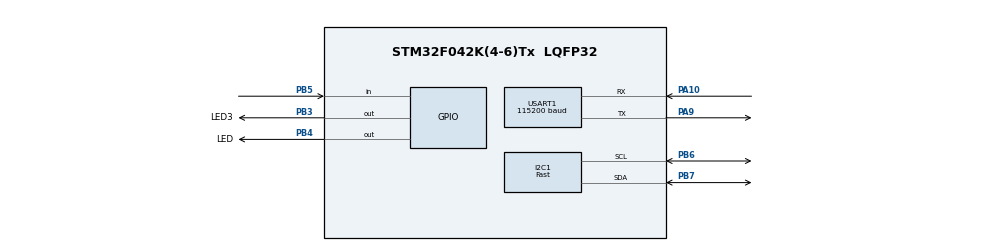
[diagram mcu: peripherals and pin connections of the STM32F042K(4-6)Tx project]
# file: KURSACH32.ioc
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Mcu.Family=STM32F0
I2C1.I2C_Speed_Mode=I2C_Fast
PA10.Mode=Asynchronous
USART1.BaudRate=115200
ProjectManager.StackSize=0x400
USART1.VirtualMode-Asynchronous=VM_ASYNC
PA13.Signal=SYS_SWDIO
PA9.Mode=Asynchronous
ProjectManager.TargetToolchain=STM32CubeIDE
PA9.Signal=USART1_TX
PB6.Signal=I2C1_SCL
I2C1.Timing=0x0000020B
PB6.Mode=I2C
board=custom
PB4.GPIO_Label=LED
PA14.Mode=Serial_Wire
PB7.Signal=I2C1_SDA
PA13.Mode=Serial_Wire
Mcu.Name=STM32F042K(4-6)Tx
PB3.Signal=GPIO_Output
Mcu.Package=LQFP32
PB5.Signal=GPIO_Input
PB7.Mode=I2C
PA10.Signal=USART1_RX
PA14.Signal=SYS_SWCLK
ProjectManager.HeapSize=0x200
PB4.Signal=GPIO_Output
PB3.GPIO_Label=LED3

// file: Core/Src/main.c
/* USER CODE BEGIN Header */
/**
  ******************************************************************************
  * @file           : main.c
  * @brief          : Main program body
  ******************************************************************************
  * @attention
  *
  * <h2><center>&copy; Copyright (c) 2021 STMicroelectronics.
  * All rights reserved.</center></h2>
  *
  * This software component is licensed by ST under BSD 3-Clause license,
  * the "License"; You may not use this file except in compliance with the
  * License. You may obtain a copy of the License at:
  *                        opensource.org/licenses/BSD-3-Clause
  *
  ******************************************************************************
  */
/* USER CODE END Header */
#include "main.h"
#include "string.h"
#include "stm32f0xx_hal.h"
#include "stdlib.h"
#include "stdio.h"

/* USER CODE BEGIN PTD */
#define REG_INTERRUPT_STATUS_1 0x00
#define REG_INTERRUPT_STATUS_2 0x01
#define REG_INTERRUPT_ENABLE_1 0x02
#define REG_INTERRUPT_ENABLE_2 0x03
#define MAX30102_ADDR_WRITE 0xAE
#define MAX30102_ADDR_READ 0xAF
#define PART_ID 0xFF
#define REG_MODE_CONFIGURATION 0x09
#define REG_LED_PLUSE_AMPLITUDE_1 0x0c
#define REG_LED_PLUSE_AMPLITUDE_2 0x0d
#define REG_PROXIMITY_MODE_LED_PLUSE_AMPLITUDE 0x10
#define REG_SPO2_CONFIGURATION 0x0a
#define REG_FIFO_DATA_REGISTER 0x07
#define REG_FIFO_WRITE_POINTER 0x04
#define REG_OVERFLOW_COUNTER 0x05
#define REG_FIFO_READ_POINTER 0x06
#define REG_FIFO_CONFIGURATION 0x08

#define BUFF_SIZE 200
#define BUFF_SIZE_half BUFF_SIZE/2

#define FILTER_LEVEL 8

/* USER CODE END PTD */

I2C_HandleTypeDef hi2c1;

UART_HandleTypeDef huart1;

/* USER CODE BEGIN PV */

int __io_putchar(int ch){
	HAL_UART_Transmit(&huart1, (uint8_t *)&ch, 1, 0xFFFF);
}

/* USER CODE END PV */

void SystemClock_Config(void);
static void MX_GPIO_Init(void);
static void MX_I2C1_Init(void);
static void MX_USART1_UART_Init(void);
/* USER CODE BEGIN PFP */
I2C_HandleTypeDef hi2c1;

UART_HandleTypeDef huart1;
/* USER CODE END PFP */

int main(void)
{

  /* MCU Configuration--------------------------------------------------------*/

  /* Reset of all peripherals, Initializes the Flash interface and the Systick. */
  HAL_Init();
  MX_GPIO_Init();
  MX_I2C1_Init();
  MX_USART1_UART_Init();

  /* Configure the system clock */
  SystemClock_Config();

  /* USER CODE BEGIN SysInit */

  printf("Hello, dear user\r\n");

  max30102_init();

  uint8_t flag = 0;
  uint8_t tstflag = 0;
  uint8_t spo2s = 0;

  /* USER CODE END SysInit */

  /* Initialize all configured peripherals */

  uint8_t part_id = 0;
  uint8_t disflag = 0;
  /* Infinite loop */
  /* USER CODE BEGIN WHILE */
  while (1)
  {
    /* USER CODE END WLE */

	  while(HAL_I2C_Mem_Read(&hi2c1, MAX30102_ADDR_READ, PART_ID, I2C_MEMADD_SIZE_8BIT, &part_id, 1, 10)){
			if(disflag == 0){
				printf("MAX30102 is disconnected\r\n");
			}
			HAL_GPIO_WritePin(LED_GPIO_Port, LED_Pin, GPIO_PIN_RESET);
			HAL_GPIO_WritePin(LED3_GPIO_Port, LED3_Pin, GPIO_PIN_RESET);
			disflag = 1;
	  }
	  disflag = 0;

		if (HAL_GPIO_ReadPin(GPIOB, GPIO_PIN_5) == GPIO_PIN_RESET) {

			max30102_cal();
			uint8_t spo2 = max30102_getSpO2();

			if(spo2 != 0){

				if(spo2 > 89){
					if(spo2s != spo2){
						printf("Oxygen level: %d percent\r\n", spo2);

						HAL_GPIO_WritePin(LED3_GPIO_Port, LED3_Pin, GPIO_PIN_SET);
						spo2s = spo2;
						HAL_Delay(10);
						HAL_GPIO_WritePin(LED3_GPIO_Port, LED3_Pin, GPIO_PIN_RESET);
					}
					tstflag = 0;
				}else if(tstflag == 0){
					tstflag = 1;
				}
				flag = 0;
			}else if(spo2 == 0 && flag == 0){
				flag = 1;
			}
		}
  }
}

void max30102_init()
{
	  uint8_t part_id = 0;
	  uint8_t data;
	  uint8_t onflag = 0;

	  while(part_id != 0x15){
		  HAL_I2C_Mem_Read(&hi2c1, MAX30102_ADDR_READ, PART_ID, I2C_MEMADD_SIZE_8BIT, &part_id, 1, 10);
		  if(onflag == 0 && part_id != 0x15){
			   printf("MAX30102 is not available\r\n");
		  }
		  onflag = 1;
	  }

     printf("MAX30102 is connected\r\n");

	 uint8_t mode = 0;

	 //MAX check

	 HAL_I2C_Mem_Read(&hi2c1, MAX30102_ADDR_READ, REG_MODE_CONFIGURATION, I2C_MEMADD_SIZE_8BIT, &mode, 1, 10);
	 if(mode == 0x00){
		 printf("MAX30102 is OFF\r\n");
		 while (mode == 0x00){
			 printf("proceccing...\r\n");
			 mode = 0x03;
			 HAL_I2C_Mem_Write(&hi2c1, MAX30102_ADDR_WRITE, REG_MODE_CONFIGURATION, I2C_MEMADD_SIZE_8BIT, &mode, 1, 10);
			 HAL_I2C_Mem_Read(&hi2c1, MAX30102_ADDR_READ, REG_MODE_CONFIGURATION, I2C_MEMADD_SIZE_8BIT, &mode, 1, 10);
		 }
	 }

	 //LED CONF
	data = 0x47;
	HAL_I2C_Mem_Write(&hi2c1, MAX30102_ADDR_WRITE, REG_LED_PLUSE_AMPLITUDE_1, I2C_MEMADD_SIZE_8BIT, &data, 1, 10);
	HAL_I2C_Mem_Write(&hi2c1, MAX30102_ADDR_WRITE, REG_LED_PLUSE_AMPLITUDE_2, I2C_MEMADD_SIZE_8BIT, &data, 1, 10);
	//data = 0x7f;
	HAL_I2C_Mem_Write(&hi2c1, MAX30102_ADDR_WRITE, REG_PROXIMITY_MODE_LED_PLUSE_AMPLITUDE, I2C_MEMADD_SIZE_8BIT, &data, 1, 10);

	//Spo2 CONF
	data = 0x63;
    HAL_I2C_Mem_Write(&hi2c1, MAX30102_ADDR_WRITE, REG_SPO2_CONFIGURATION, I2C_MEMADD_SIZE_8BIT, &data, 1, 10);

    //FIFO conf
    data = 0x10;
    HAL_I2C_Mem_Write(&hi2c1, MAX30102_ADDR_WRITE, REG_FIFO_CONFIGURATION, I2C_MEMADD_SIZE_8BIT, &data, 1, 10);

    //INTERRUPT
    data= 0xc0;
    HAL_I2C_Mem_Write(&hi2c1, MAX30102_ADDR_WRITE, REG_INTERRUPT_ENABLE_1, I2C_MEMADD_SIZE_8BIT, &data, 1, 10);
    //INTERRUPT2
    data= 0x00;
    HAL_I2C_Mem_Write(&hi2c1, MAX30102_ADDR_WRITE, REG_INTERRUPT_ENABLE_2, I2C_MEMADD_SIZE_8BIT, &data, 1, 10);

	// FIFO CLEAR
    data = 0;
    HAL_I2C_Mem_Write(&hi2c1, MAX30102_ADDR_WRITE, REG_FIFO_WRITE_POINTER, I2C_MEMADD_SIZE_8BIT, &data, 1, 10);
    HAL_I2C_Mem_Write(&hi2c1, MAX30102_ADDR_WRITE, REG_OVERFLOW_COUNTER, I2C_MEMADD_SIZE_8BIT, &data, 1, 10);
    HAL_I2C_Mem_Write(&hi2c1, MAX30102_ADDR_WRITE, REG_FIFO_READ_POINTER, I2C_MEMADD_SIZE_8BIT, &data, 1, 10);

    // STATUS CLEAR
    uint8_t dataTemp = 0;
    HAL_I2C_Mem_Read(&hi2c1, MAX30102_ADDR_READ, REG_INTERRUPT_STATUS_1, I2C_MEMADD_SIZE_8BIT, &dataTemp, 1, 10);
    data = dataTemp;
    HAL_I2C_Mem_Read(&hi2c1, MAX30102_ADDR_READ, REG_INTERRUPT_STATUS_2, I2C_MEMADD_SIZE_8BIT, &dataTemp, 1, 10);

	printf("MAX30102 is ON\r\n");
}

uint8_t max30102_getUnreadSampleCount()
{
	uint8_t wr = 0, rd = 0;
    HAL_I2C_Mem_Read(&hi2c1, MAX30102_ADDR_READ, REG_FIFO_WRITE_POINTER, I2C_MEMADD_SIZE_8BIT, &wr, 1, 10);
    HAL_I2C_Mem_Read(&hi2c1, MAX30102_ADDR_READ, REG_FIFO_READ_POINTER, I2C_MEMADD_SIZE_8BIT, &rd, 1, 10);

    if ((wr - rd) < 0)
        return wr - rd + 32;
    else
        return wr - rd;
}

uint8_t flagput = 0;
uint8_t flagproc = 0;

void max30102_getFIFO(SAMPLE *data, uint8_t sampleCount){

    uint8_t dataTemp[sampleCount * 6];

    HAL_I2C_Mem_Read(&hi2c1, MAX30102_ADDR_READ, REG_FIFO_DATA_REGISTER, I2C_MEMADD_SIZE_8BIT, dataTemp, 6 * sampleCount, 25);

    if(dataTemp[0] != 0){
		flagput = 0;
		HAL_GPIO_WritePin(LED_GPIO_Port, LED_Pin, GPIO_PIN_SET);
		if(flagproc == 0){
			printf("Processing...\r\n");
			flagproc = 1;
		}
    }else{
    	flagproc = 0;
		HAL_GPIO_WritePin(LED_GPIO_Port, LED_Pin, GPIO_PIN_RESET);
		if(flagput == 0){
			printf("Put your finger please\r\n");
			flagput = 1;
		}
    }

    uint8_t i;
    for (i = 0; i < sampleCount; i++)
    {
        data[i].red = (((uint32_t)dataTemp[i * 6]) << 16 | ((uint32_t)dataTemp[i * 6 + 1]) << 8 | dataTemp[i * 6 + 2]) & 0x3ffff;
        data[i].iRed = (((uint32_t)dataTemp[i * 6 + 3]) << 16 | ((uint32_t)dataTemp[i * 6 + 4]) << 8 | dataTemp[i * 6 + 5]) & 0x3ffff;
    }

}

SAMPLE sampleBuff[BUFF_SIZE];
uint8_t spo2 = 0;

uint16_t redAC = 0;
uint32_t redDC = 0;
uint16_t iRedAC = 0;
uint32_t iRedDC = 0;

uint16_t redAC_prev = 0;
uint32_t redDC_prev = 0;
uint16_t iRedAC_prev = 0;
uint32_t iRedDC_prev = 0;

#define FILTER_LEVEL 8

void filter(SAMPLE *s)
{
    uint8_t i;
    uint32_t red = 0;
    uint32_t ired = 0;
    for (i = 0; i < FILTER_LEVEL - 1; i++)
    {
        red += sampleBuff[i].red;
        ired += sampleBuff[i].iRed;
    }
    s->red = (red + s->red) / FILTER_LEVEL;
    s->iRed = (ired + s->iRed) / FILTER_LEVEL;
}

uint32_t rMax = 2;
uint32_t rMin = 1;
uint32_t iMax = 2;
uint32_t iMin = 1;

uint32_t maxFindSteep=0;
uint32_t minFindSteep=0;

int16_t eachSampleDiff = 0;

uint32_t	lenghtWave[2] = {0,0};

#define MIDDLEBUUF BUFF_SIZE
uint32_t middle_ir[1 + 1 + 1 + MIDDLEBUUF];

void calcAcDcFIFO(SAMPLE s, uint16_t *rac, uint32_t *rdc, uint16_t *iac, uint32_t *idc) {
	// Уровень с ик диода выше чем с красного
    uint8_t i;
	for (i = BUFF_SIZE - 1; i > 0; i--) {
		sampleBuff[i].red = sampleBuff[i - 1].red;
		sampleBuff[i].iRed = sampleBuff[i - 1].iRed;
		middle_ir[3 + i] = middle_ir[3 + i - 1];
	}
	if(s.red > s.iRed) {	// Уровень с ик диода выше чем с красного
		sampleBuff[0].red = s.iRed;
		sampleBuff[0].iRed = s.red;
		middle_ir[3] = s.red;
	} else {
		sampleBuff[0].red = s.red;
		sampleBuff[0].iRed = s.iRed;
		middle_ir[3] = s.iRed;
	}

	{	// фильтрация
		uint32_t acc32 = (middle_ir[3] + middle_ir[4] + middle_ir[5]) / 3;// + middle_ir[6] + middle_ir[7]) / 5;
		middle_ir[3] = acc32;

		// среднеарифметическое значение в middle_ir[0]
		uint64_t acc64=0;
		for(uint32_t k=3; k<(MIDDLEBUUF+3); k++)
			acc64 += ((uint64_t)middle_ir[k]*(uint64_t)middle_ir[k]);
		acc64 = acc64/MIDDLEBUUF;
		middle_ir[0] = ( ((uint32_t)sqrt(acc64)));
	}

	if( (middle_ir[0] < middle_ir[3+BUFF_SIZE_half]) && (middle_ir[0] > middle_ir[3+BUFF_SIZE_half+2]) ) { // рост максимума
		maxFindSteep = 0;
		minFindSteep = 0;

    	iMax = 0;
    	iMin = 0xffffffff;
    	rMax = 0;
    	rMin = 0xffffffff;

		uint32_t max_num = 0;
		for(uint32_t k=0; k<BUFF_SIZE_half; k++) {// поиск максимума
			if( (middle_ir[0] > middle_ir[3+BUFF_SIZE_half-k]) && (middle_ir[0] < middle_ir[3+BUFF_SIZE_half+2-k]) )
				break; // уход в минус относительно средней
			if (middle_ir[3+BUFF_SIZE_half-k] > iMax){
				iMax = middle_ir[3+BUFF_SIZE_half-k];
				max_num = BUFF_SIZE_half-k;
			}
			maxFindSteep++;
		}
		for(uint32_t k=(max_num-10); k < (max_num+10); k++) {// уточнение максимума
			if (sampleBuff[k].iRed > iMax){
				iMax = sampleBuff[k].iRed;
				rMax = sampleBuff[k].red;
			}
		}
		uint32_t min_num=0;
		for(uint32_t k=0; k<(BUFF_SIZE_half-2); k++) {// поиск минимума
			if( (middle_ir[0] > middle_ir[3+BUFF_SIZE_half+k]) && (middle_ir[0] < middle_ir[3+BUFF_SIZE_half+2+k]) )
				break;
			if (middle_ir[3+BUFF_SIZE_half+k] < iMin){
				iMin = middle_ir[3+BUFF_SIZE_half+k];
				min_num = BUFF_SIZE_half+k;
			}
			minFindSteep++;
		}
		for(uint32_t k=(min_num-10); k < (min_num+10); k++) {// уточнение минимума
			if (sampleBuff[k].iRed < iMin){
				iMin = sampleBuff[k].iRed;
				rMin = sampleBuff[k].red;
			}
		}

		lenghtWave[0] = (maxFindSteep);
		lenghtWave[1] = (minFindSteep);
	}

    *rac = rMax - rMin;
    *rdc = (rMax + rMin) / 2;
    *iac = iMax - iMin;
    *idc = (iMax + iMin) / 2;
}

void max30102_cal()
{
    uint8_t unreadSampleCount = max30102_getUnreadSampleCount();

    SAMPLE sampleBuffTemp[unreadSampleCount];
    max30102_getFIFO(sampleBuffTemp, unreadSampleCount);

    uint8_t i = 0;

    for (i = 0; i < unreadSampleCount; i++)
    {
        if (sampleBuffTemp[i].iRed < 40000) //Нет пальцев, нет расчета, пропустить
        {
            spo2 = 0;
            eachSampleDiff = 0;
            continue;
        }

        calcAcDcFIFO(sampleBuffTemp[i], &redAC, &redDC, &iRedAC, &iRedDC);
        filter(&sampleBuffTemp[i]);

			float R = (((float)(redAC)) / ((float)(redDC))) / (((float)(iRedAC)) / ((float)(iRedDC)));
			if (R >= 0.36 && R < 0.66)
				spo2 = (uint8_t)(107 - 20 * R);
			else if (R >= 0.66 && R < 1)
				spo2 = (uint8_t)(129.64 - 54 * R);

			redAC_prev = redAC;
			redDC_prev = redDC;
			iRedAC_prev = iRedAC;
			iRedDC_prev = iRedDC;
        eachSampleDiff = middle_ir[3 + BUFF_SIZE_half] - iMin;

    }

}

uint8_t max30102_getSpO2() { return spo2; }
uint16_t max30102_getMaxMin() { return (uint16_t)(iMax - iMin); }

void SystemClock_Config(void)
{
  RCC_OscInitTypeDef RCC_OscInitStruct = {0};
  RCC_ClkInitTypeDef RCC_ClkInitStruct = {0};
  RCC_PeriphCLKInitTypeDef PeriphClkInit = {0};

  /** Initializes the RCC Oscillators according to the specified parameters
  * in the RCC_OscInitTypeDef structure.
  */
  RCC_OscInitStruct.OscillatorType = RCC_OSCILLATORTYPE_HSI;
  RCC_OscInitStruct.HSIState = RCC_HSI_ON;
  RCC_OscInitStruct.HSICalibrationValue = RCC_HSICALIBRATION_DEFAULT;
  RCC_OscInitStruct.PLL.PLLState = RCC_PLL_NONE;
  if (HAL_RCC_OscConfig(&RCC_OscInitStruct) != HAL_OK)
  {
    Error_Handler();
  }
  /** Initializes the CPU, AHB and APB buses clocks
  */
  RCC_ClkInitStruct.ClockType = RCC_CLOCKTYPE_HCLK|RCC_CLOCKTYPE_SYSCLK
                              |RCC_CLOCKTYPE_PCLK1;
  RCC_ClkInitStruct.SYSCLKSource = RCC_SYSCLKSOURCE_HSI;
  RCC_ClkInitStruct.AHBCLKDivider = RCC_SYSCLK_DIV1;
  RCC_ClkInitStruct.APB1CLKDivider = RCC_HCLK_DIV1;

  if (HAL_RCC_ClockConfig(&RCC_ClkInitStruct, FLASH_LATENCY_0) != HAL_OK)
  {
    Error_Handler();
  }
  PeriphClkInit.PeriphClockSelection = RCC_PERIPHCLK_USART1|RCC_PERIPHCLK_I2C1;
  PeriphClkInit.Usart1ClockSelection = RCC_USART1CLKSOURCE_PCLK1;
  PeriphClkInit.I2c1ClockSelection = RCC_I2C1CLKSOURCE_HSI;
  if (HAL_RCCEx_PeriphCLKConfig(&PeriphClkInit) != HAL_OK)
  {
    Error_Handler();
  }
}

static void MX_I2C1_Init(void)
{

  hi2c1.Instance = I2C1;
  hi2c1.Init.Timing = 0x0000020B;
  hi2c1.Init.OwnAddress1 = 0;
  hi2c1.Init.AddressingMode = I2C_ADDRESSINGMODE_7BIT;
  hi2c1.Init.DualAddressMode = I2C_DUALADDRESS_DISABLE;
  hi2c1.Init.OwnAddress2 = 0;
  hi2c1.Init.OwnAddress2Masks = I2C_OA2_NOMASK;
  hi2c1.Init.GeneralCallMode = I2C_GENERALCALL_DISABLE;
  hi2c1.Init.NoStretchMode = I2C_NOSTRETCH_DISABLE;
  if (HAL_I2C_Init(&hi2c1) != HAL_OK)
  {
    Error_Handler();
  }
  /** Configure Analogue filter
  */
  if (HAL_I2CEx_ConfigAnalogFilter(&hi2c1, I2C_ANALOGFILTER_ENABLE) != HAL_OK)
  {
    Error_Handler();
  }
  /** Configure Digital filter
  */
  if (HAL_I2CEx_ConfigDigitalFilter(&hi2c1, 0) != HAL_OK)
  {
    Error_Handler();
  }

}

static void MX_USART1_UART_Init(void)
{

  huart1.Instance = USART1;
  huart1.Init.BaudRate = 115200;
  huart1.Init.WordLength = UART_WORDLENGTH_8B;
  huart1.Init.StopBits = UART_STOPBITS_1;
  huart1.Init.Parity = UART_PARITY_NONE;
  huart1.Init.Mode = UART_MODE_TX_RX;
  huart1.Init.HwFlowCtl = UART_HWCONTROL_NONE;
  huart1.Init.OverSampling = UART_OVERSAMPLING_16;
  huart1.Init.OneBitSampling = UART_ONE_BIT_SAMPLE_DISABLE;
  huart1.AdvancedInit.AdvFeatureInit = UART_ADVFEATURE_NO_INIT;
  if (HAL_UART_Init(&huart1) != HAL_OK)
  {
    Error_Handler();
  }

}

static void MX_GPIO_Init(void)
{
  GPIO_InitTypeDef GPIO_InitStruct = {0};

  /* GPIO Ports Clock Enable */
  __HAL_RCC_GPIOA_CLK_ENABLE();
  __HAL_RCC_GPIOB_CLK_ENABLE();

  /*Configure GPIO pin Output Level */
  HAL_GPIO_WritePin(GPIOB, LED3_Pin|LED_Pin, GPIO_PIN_RESET);

  /*Configure GPIO pins : LED3_Pin LED_Pin */
  GPIO_InitStruct.Pin = LED3_Pin|LED_Pin;
  GPIO_InitStruct.Mode = GPIO_MODE_OUTPUT_PP;
  GPIO_InitStruct.Pull = GPIO_NOPULL;
  GPIO_InitStruct.Speed = GPIO_SPEED_FREQ_LOW;
  HAL_GPIO_Init(GPIOB, &GPIO_InitStruct);

  /*Configure GPIO pin : PB5 */
  GPIO_InitStruct.Pin = GPIO_PIN_5;
  GPIO_InitStruct.Mode = GPIO_MODE_INPUT;
  GPIO_InitStruct.Pull = GPIO_NOPULL;
  HAL_GPIO_Init(GPIOB, &GPIO_InitStruct);

}

void Error_Handler(void)
{
  __disable_irq();
  while (1)
  {
  }
}

/************************ (C) COPYRIGHT STMicroelectronics *****END OF FILE****/
